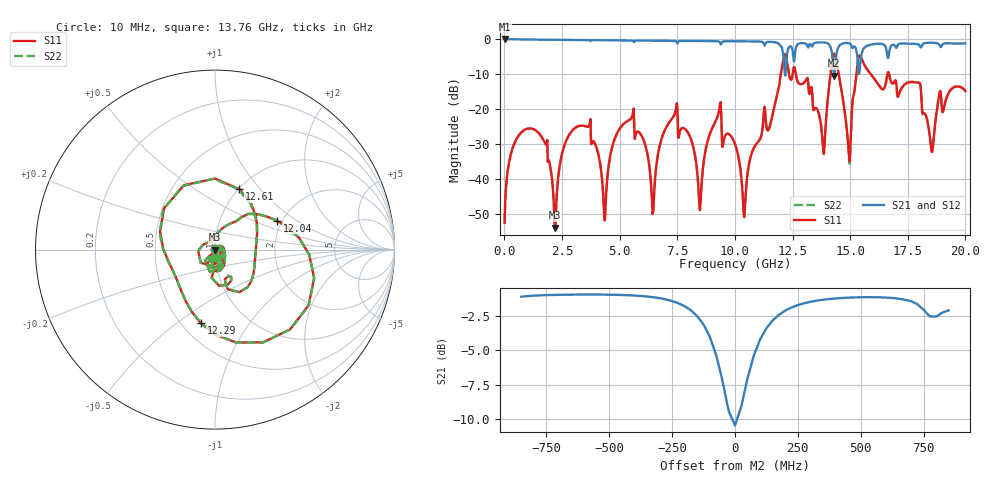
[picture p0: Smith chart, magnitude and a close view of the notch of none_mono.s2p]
! Stitch-density study - 40 x 12 mm symmetric stripline, cut at x=20 mm
! Case: none_mono
! Sweep: 10 MHz - 20 GHz, 25 MHz step, 4 cores
# GHz S MA R 50.000000
! Terminal data exported
! Port[1] = U1.PAD1.SIG
! Port[2] = U2.PAD1.SIG
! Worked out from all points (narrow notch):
!   801 points, 10 MHz to 20 GHz, reference 50 ohm
!   highest |S21| = -0.02 dB at 10 MHz (marker M1); lowest = -10.4 dB at 14.31 GHz (marker M2)
!   notch at M2: 9.8 dB deep, 144 MHz wide at half that depth
!   lowest |S11| = -53.8 dB at 2.21 GHz (marker M3), VSWR 1.00, Z = 50.2 - j0.000848 ohm
!   |S11| at or under -10 dB: start of sweep to 11.99 GHz; 12.64 GHz to 14.15 GHz (1.507 GHz wide, 11.3 % of centre); 16.69 GHz to end of sweep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
!   |S22| runs from -53.7 to -4.2 dB; largest |S21 - S12| = 0
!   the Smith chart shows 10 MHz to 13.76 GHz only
!   S11 on the Smith chart (normalised r, x): 10 MHz: 1.00, +0.00; 12.04 GHz: 1.88, +0.71; 12.29 GHz: 0.62, -0.62; 12.61 GHz: 1.01, +0.78; 13.76 GHz: 1.02, -0.10
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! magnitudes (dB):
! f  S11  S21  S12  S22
! 10 MHz  -52.4  0.0  0.0  -52.4
! 1.085 GHz  -25.5  -0.1  -0.1  -25.5
! 2.21 GHz  -53.8  -0.2  -0.2  -53.7
! 3.36 GHz  -24.7  -0.3  -0.3  -24.7
! 4.335 GHz  -51.0  -0.3  -0.3  -50.9
! 5.51 GHz  -22.5  -0.4  -0.4  -22.5
! 6.435 GHz  -49.9  -0.5  -0.5  -49.6
! 6.685 GHz  -32.1  -0.5  -0.5  -32.1
! 8.485 GHz  -48.8  -0.6  -0.6  -48.4
! 10.01 GHz  -30.0  -0.6  -0.6  -30.0
! 10.41 GHz  -50.8  -0.7  -0.7  -50.3
! 12.04 GHz  -8.4  -2.5  -2.5  -8.4
! 12.29 GHz  -7.6  -3.5  -3.5  -7.6
! 12.61 GHz  -8.8  -4.1  -4.1  -8.8
! 13.36 GHz  -16.0  -2.1  -2.1  -16.1
! 13.76 GHz  -25.9  -0.9  -0.9  -25.9
! 14.31 GHz  -4.2  -10.4  -10.4  -4.2
! 14.94 GHz  -31.8  -1.2  -1.2  -32.0
! 15.41 GHz  -4.7  -9.0  -9.0  -4.7
! 16.68 GHz  -9.9  -4.2  -4.2  -9.9
! 18.54 GHz  -32.1  -1.1  -1.1  -31.2
! 20 GHz  -14.9  -1.2  -1.2  -14.9
